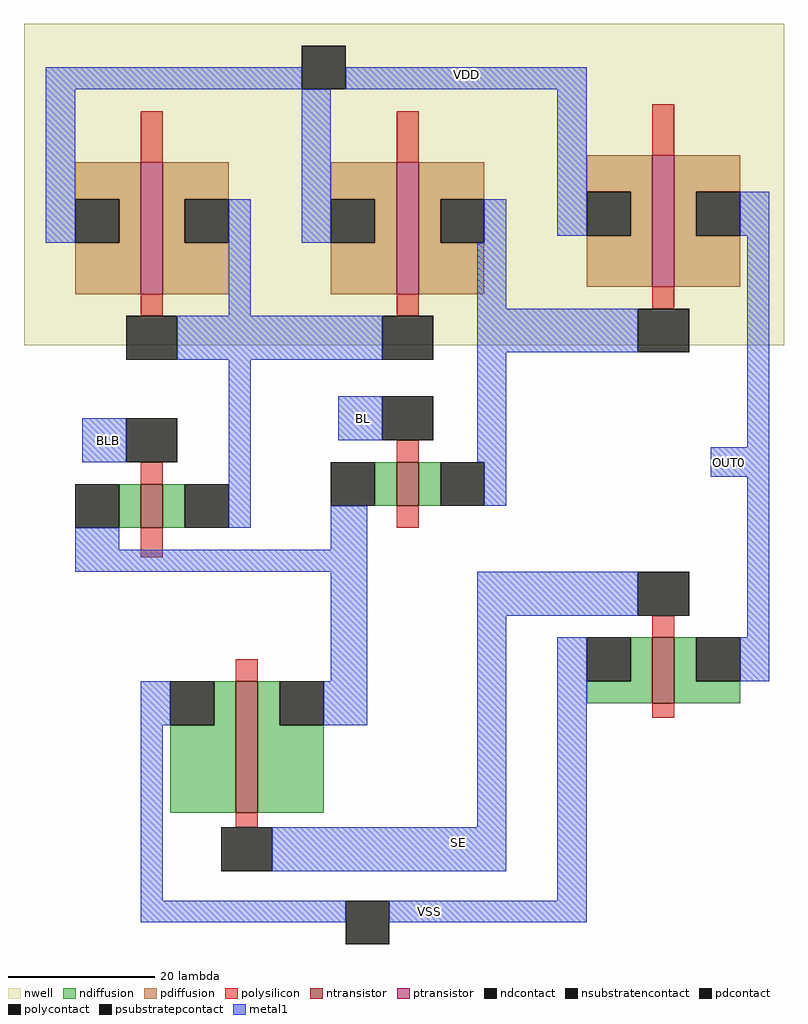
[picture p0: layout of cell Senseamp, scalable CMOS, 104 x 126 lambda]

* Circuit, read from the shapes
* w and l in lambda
.subckt Senseamp VDD OUT0 BLB BL SE VSS
M1 n1 BLB n2 VSS nfet w=6 l=3
M2 n2 SE VSS VSS nfet w=18 l=3
M3 n3 BL n2 VSS nfet w=6 l=3
M4 OUT0 SE VSS VSS nfet w=9 l=3
M5 n1 n1 VDD VDD pfet w=18 l=3
M6 n3 n1 VDD VDD pfet w=18 l=3
M7 OUT0 n3 VDD VDD pfet w=18 l=3
.ends

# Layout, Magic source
magic
tech scmos
<< nwell >>
rect -21 28 83 72
<< ntransistor >>
rect -5 3 -2 9
rect 30 6 33 12
rect 8 -36 11 -18
rect 65 -21 68 -12
<< ptransistor >>
rect -5 35 -2 53
rect 30 35 33 53
rect 65 36 68 54
<< ndiffusion >>
rect -8 3 -5 9
rect -2 3 1 9
rect 27 6 30 12
rect 33 6 36 12
rect 62 -18 65 -12
rect 5 -24 8 -18
rect -1 -36 8 -24
rect 11 -24 14 -18
rect 56 -21 65 -18
rect 68 -18 71 -12
rect 68 -21 77 -18
rect 11 -36 20 -24
<< pdiffusion >>
rect -14 48 -5 53
rect -8 42 -5 48
rect -14 35 -5 42
rect -2 48 7 53
rect -2 42 1 48
rect -2 35 7 42
rect 21 48 30 53
rect 27 42 30 48
rect 21 35 30 42
rect 33 48 42 53
rect 33 42 36 48
rect 33 35 42 42
rect 56 49 65 54
rect 62 43 65 49
rect 56 36 65 43
rect 68 49 77 54
rect 68 43 71 49
rect 68 36 77 43
<< ndcontact >>
rect -14 3 -8 9
rect 1 3 7 9
rect 21 6 27 12
rect 36 6 42 12
rect 56 -18 62 -12
rect -1 -24 5 -18
rect 14 -24 20 -18
rect 71 -18 77 -12
<< pdcontact >>
rect -14 42 -8 48
rect 1 42 7 48
rect 21 42 27 48
rect 36 42 42 48
rect 56 43 62 49
rect 71 43 77 49
<< psubstratepcontact >>
rect 23 -54 29 -48
<< nsubstratencontact >>
rect 17 63 23 69
<< polysilicon >>
rect -5 53 -2 60
rect 30 53 33 60
rect 65 54 68 61
rect -5 32 -2 35
rect 30 32 33 35
rect 65 33 68 36
rect 30 12 33 15
rect -5 9 -2 12
rect 30 3 33 6
rect -5 -1 -2 3
rect 65 -12 68 -9
rect 8 -18 11 -15
rect 65 -23 68 -21
rect 8 -38 11 -36
<< polycontact >>
rect -7 26 0 32
rect 28 26 35 32
rect 63 27 70 33
rect -7 12 0 18
rect 28 15 35 21
rect 63 -9 70 -3
rect 6 -44 13 -38
<< metal1 >>
rect -18 63 17 66
rect 23 63 56 66
rect -18 42 -14 63
rect 7 32 10 48
rect 17 42 21 63
rect 42 42 45 48
rect 52 43 56 63
rect 77 43 81 49
rect 41 33 45 42
rect 0 26 28 32
rect 41 27 63 33
rect -13 12 -7 18
rect 7 3 10 26
rect 22 15 28 21
rect 41 12 45 27
rect 78 14 81 43
rect 42 6 45 12
rect 73 10 81 14
rect -14 0 -8 3
rect 21 0 26 6
rect -14 -3 26 0
rect 21 -18 26 -3
rect -5 -24 -1 -18
rect 20 -24 26 -18
rect 41 -9 63 -3
rect -5 -48 -2 -24
rect 41 -38 45 -9
rect 78 -12 81 10
rect 13 -44 45 -38
rect 52 -48 56 -12
rect 77 -18 81 -12
rect -5 -51 23 -48
rect 29 -51 56 -48
<< labels >>
rlabel metal1 23 64 56 66 0 VDD
port 1 nsew
rlabel metal1 73 10 78 14 0 OUT0
port 2 nsew
rlabel metal1 -12 13 -7 17 0 BLB
port 3 nsew
rlabel metal1 23 16 28 20 0 BL
port 4 nsew
rlabel metal1 36 -42 41 -38 0 SE
port 5 nsew
rlabel metal1 32 -51 37 -48 0 VSS
port 6 nsew
<< end >>
